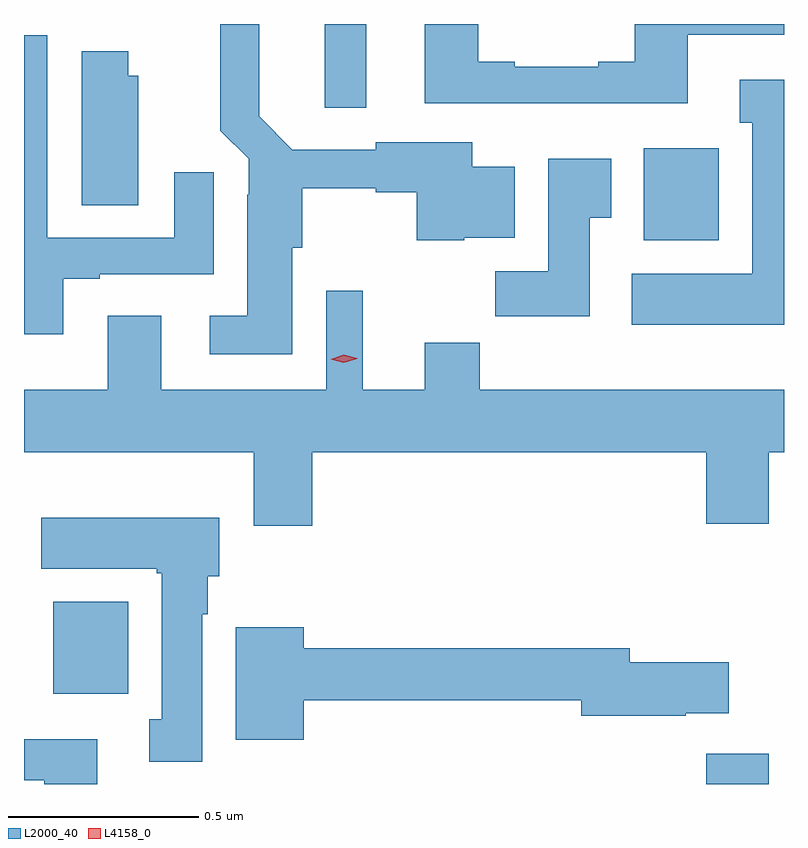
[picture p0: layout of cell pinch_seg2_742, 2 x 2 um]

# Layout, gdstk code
import gdstk
lib = gdstk.Library(unit=1e-6, precision=1e-09)
def R(c, l, rs):  # rectangles x0, y0, x1, y1
    for r in rs: c.add(gdstk.rectangle(r[:2], r[2:], *l))
def P(c, l, *ps):  # polygons
    for p in ps: c.add(gdstk.Polygon(p, *l))
L2000_40 = (2000, 40)
L4158_0 = (4158, 0)

pinch_seg2_742 = lib.new_cell('pinch_seg2_742')
R(pinch_seg2_742, L2000_40, [(788.384,656.087,788.548,656.167), (786.665,656.324,786.862,656.566), (788.219,657.518,788.416,657.76), (787.379,657.867,787.489,658.087)])
P(pinch_seg2_742, L2000_40, [(787.294,657.498),(787.32,657.498),(787.32,657.655),(787.514,657.655),(787.514,657.644),(787.621,657.644),(787.621,657.518),(787.746,657.518),(787.746,657.524),(787.879,657.524),(787.879,657.712),(787.768,657.712),(787.768,657.776),(787.514,657.776),(787.514,657.756),(787.294,657.756),(787.207,657.844),(787.207,658.087),(787.105,658.087),(787.105,657.806),(787.179,657.732),(787.179,657.638),(787.175,657.638),(787.175,657.319),(787.077,657.319),(787.077,657.218),(787.294,657.218)],
  [(788.335,658.059),(788.588,658.059),(788.588,658.087),(788.195,658.087),(788.195,657.988),(788.099,657.988),(788.099,657.975),(787.879,657.975),(787.879,657.988),(787.783,657.988),(787.783,658.087),(787.643,658.087),(787.643,657.878),(788.335,657.878)],
  [(786.691,657.417),(786.787,657.417),(786.787,657.429),(787.087,657.429),(787.087,657.697),(786.983,657.697),(786.983,657.525),(786.649,657.525),(786.649,658.057),(786.588,658.057),(786.588,657.27),(786.691,657.27)],
  [(786.889,657.951),(786.862,657.951),(786.862,658.015),(786.74,658.015),(786.74,657.61),(786.889,657.61)],
  [(788.588,657.94),(788.471,657.94),(788.471,657.827),(788.504,657.827),(788.504,657.43),(788.187,657.43),(788.187,657.296),(788.588,657.296)],
  [(788.077,657.577),(788.134,657.577),(788.134,657.733),(787.967,657.733),(787.967,657.436),(787.828,657.436),(787.828,657.318),(788.077,657.318)],
  [(787.346,656.96),(788.384,656.96),(788.384,656.772),(788.548,656.772),(788.548,656.96),(788.588,656.96),(788.588,657.124),(787.787,657.124),(787.787,657.248),(787.643,657.248),(787.643,657.124),(787.48,657.124),(787.48,657.385),(787.383,657.385),(787.383,657.124),(786.949,657.124),(786.949,657.319),(786.809,657.319),(786.809,657.124),(786.588,657.124),(786.588,656.96),(787.193,656.96),(787.193,656.766),(787.346,656.766)],
  [(787.057,656.534),(787.072,656.534),(787.072,656.634),(787.102,656.634),(787.102,656.788),(786.633,656.788),(786.633,656.654),(786.937,656.654),(786.937,656.641),(786.95,656.641),(786.95,656.258),(786.917,656.258),(786.917,656.145),(787.057,656.145)],
  [(787.324,656.308),(788.054,656.308),(788.054,656.266),(788.33,656.266),(788.33,656.273),(788.443,656.273),(788.443,656.408),(788.182,656.408),(788.182,656.444),(787.324,656.444),(787.324,656.5),(787.145,656.5),(787.145,656.204),(787.324,656.204)],
  [(786.781,656.205),(786.588,656.205),(786.588,656.097),(786.641,656.097),(786.641,656.087),(786.781,656.087)])
P(pinch_seg2_742, L4158_0, [(787.43,657.196),(787.395,657.205),(787.394,657.205),(787.395,657.205),(787.43,657.216),(787.465,657.207),(787.465,657.206),(787.465,657.206)])

lib.write_gds('pinch_seg2_742.gds')
